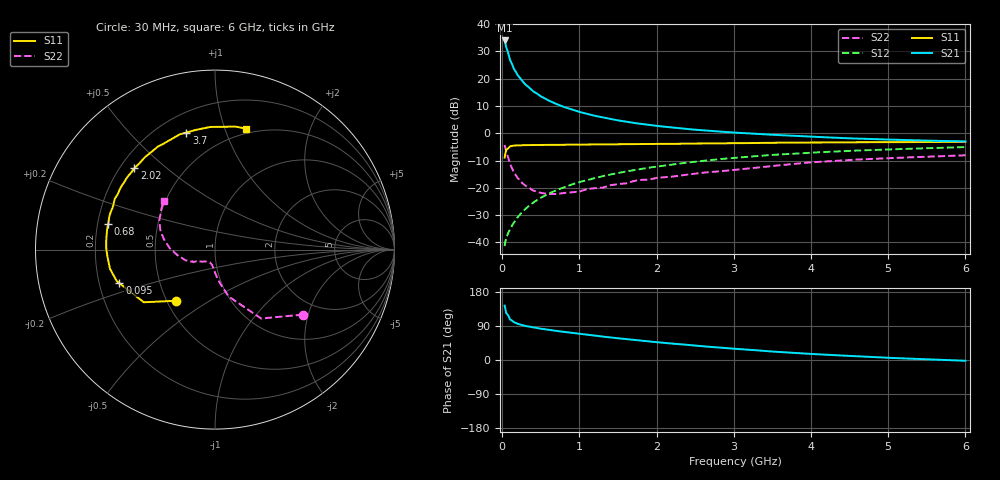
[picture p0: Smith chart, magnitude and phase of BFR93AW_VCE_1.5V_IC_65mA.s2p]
! Infineon Technologies  Discrete & RF Semiconductors
! BFR93AW
! VCE =  1.5 V,  IC =  65 mA
! Common Emitter S-Parameters:  Nov 2015
# GHz  S  MA  R  50
!  f  S11  S21  S12  S22
! GHz  MAG  ANG  MAG  ANG  MAG  ANG  MAG  ANG
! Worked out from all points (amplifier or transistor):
!   206 points, 30 MHz to 6 GHz, reference 50 ohm
!   highest |S21| = 34.0 dB at 30 MHz (marker M1)
!   |S21| within 3 dB of that: start of sweep to 57.67 MHz
!   unconditionally stable (mu >= 1): 147.6 MHz to end of sweep
!   at 200 MHz: K = 1.07, MAG = 24.5 dB, |S12| = -30.8 dB
!   at 1.56 GHz: K = 1.13, MAG = 7.2 dB, |S12| = -14.3 dB
!   at 6 GHz: K = 1.01, MAG = 0.5 dB, |S12| = -5.1 dB
!   S11 on the Smith chart (normalised r, x): 30 MHz: 0.56, -0.36; 95 MHz: 0.29, -0.16; 680 MHz: 0.24, +0.11; 2.02 GHz: 0.26, +0.39; 3.7 GHz: 0.31, +0.74; 6 GHz: 0.45, +1.19
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0.03  0.3582 -127.3  50.28 143.5  0.0085 64.5  0.6093 -36.5
0.05  0.4934 -143.5  38.21 124.2  0.012 61.3  0.4622 -56.2
0.095  0.5643 -160.6  23.6 109.8  0.0167 63.1  0.289 -71.0
0.1  0.5748 -162.2  22.14 107.1  0.0173 63.2  0.2718 -73.8
0.15  0.5948 -169.6  15.22 99.9  0.0229 66.8  0.1907 -81.4
0.2  0.5983 -174.3  11.6 95.4  0.0289 70.2  0.1508 -86.5
0.24  0.6017 -177.2  9.778 93.0  0.0338 71.5  0.1293 -89.6
0.26  0.6033 -178.4  9.021 91.9  0.0362 72.0  0.1211 -91.0
0.3  0.6058 179.8  7.81 89.8  0.041 72.7  0.1095 -93.2
0.4  0.6081 175.2  5.888 85.9  0.0534 74.0  0.089 -99.3
0.5  0.6101 171.7  4.746 82.5  0.0657 74.6  0.0807 -106.4
0.6  0.6118 168.9  3.979 79.7  0.0778 74.7  0.0768 -111.3
0.68  0.612 166.3  3.548 77.4  0.0876 74.4  0.0768 -115.3
0.8  0.6168 162.9  3.025 74.1  0.1021 73.6  0.0803 -123.7
1.04  0.6185 156.7  2.378 68.1  0.1317 71.6  0.0891 -132.0
1.48  0.6288 146.8  1.741 57.8  0.1844 67.4  0.1161 -143.9
2.02  0.6385 134.7  1.355 46.7  0.247 61.4  0.1527 -154.1
3.1  0.6581 113.9  1.011 28.4  0.3624 48.3  0.2194 -174.0
3.7  0.6714 103.8  0.908 19.9  0.4164 40.9  0.267 173.9
4.1  0.6763 97.6  0.853 15.0  0.4479 36.0  0.2986 166.3
5.1  0.6867 84.9  0.759 5.0  0.5105 24.9  0.3539 150.5
6  0.696 75.4  0.71 -2.0  0.5575 16.0  0.394 136.5
